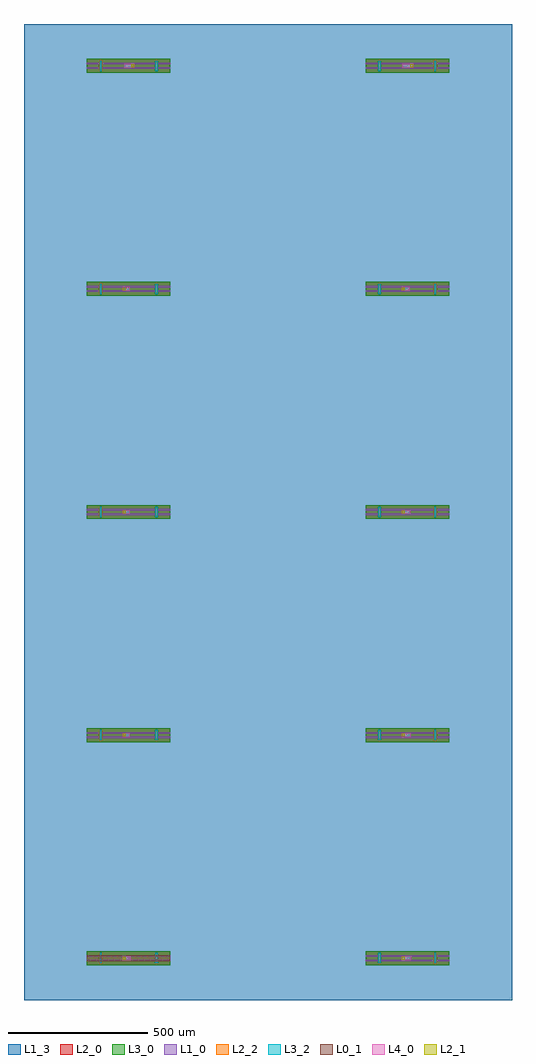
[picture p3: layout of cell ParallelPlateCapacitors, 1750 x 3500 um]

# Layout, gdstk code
from math import pi, radians
import gdstk
lib = gdstk.Library(unit=1e-6, precision=1e-09)
def R(c, l, rs):  # rectangles x0, y0, x1, y1
    for r in rs: c.add(gdstk.rectangle(r[:2], r[2:], *l))
def P(c, l, *ps):  # polygons
    for p in ps: c.add(gdstk.Polygon(p, *l))
L0_1 = (0, 1)
L1_0 = (1, 0)
L1_3 = (1, 3)
L2_0 = (2, 0)
L2_1 = (2, 1)
L2_2 = (2, 2)
L3_0 = (3, 0)
L3_2 = (3, 2)
L4_0 = (4, 0)

grounding_strap = lib.new_cell('Grounding$Strap')
R(grounding_strap, L1_3, [(-20,-6,20,6)])
R(grounding_strap, L2_0, [(-18,-3,-13,3), (13,-3,18,3)])
P(grounding_strap, L2_2, [(-19.5,-5),(-19.5,5),(19.5,5),(19.5,3),(-18,3),(-18,-3),(-13,-3),(-13,3),(13,3),(13,-3),(18,-3),(18,3),(19.5,3),(19.5,-5)])
R(grounding_strap, L3_2, [(-19,-4,19,4)])

c_5ffppc = lib.new_cell('5fFPPC')
P(c_5ffppc, L1_0, [(-150,-11),(-150,-5),(-10,-5),(-10,5),(-150,5),(-150,11),(150,11),(150,5),(0,5),(0,-5),(150,-5),(150,-11)])
R(c_5ffppc, L1_3, [(-150,-25,150,25), (-110,-20,-90,20), (90,-20,110,20)])
R(c_5ffppc, L2_0, [(-103,-18,-97,-13), (97,-18,103,-13), (-103,13,-97,18), (97,13,103,18)])
P(c_5ffppc, L2_0, [(-150,-25),(-150,25),(150,25),(150,19.5),(-105,19.5),(-105,-19.5),(-95,-19.5),(-95,19.5),(95,19.5),(95,6),(-12,6),(-12,-6),(2.5,-6),(2.5,6),(95,6),(95,-19.5),(105,-19.5),(105,19.5),(150,19.5),(150,-25)])
R(c_5ffppc, L2_1, [(-20,-5,-10,5)])
P(c_5ffppc, L3_0, [(-150,-25),(-150,25),(150,25),(150,19),(-104,19),(-104,-19),(-96,-19),(-96,19),(96,19),(96,5),(-20,5),(-20,-5),(1.5,-5),(1.5,5),(96,5),(96,-19),(104,-19),(104,19),(150,19),(150,-25)])
R(c_5ffppc, L4_0, [(-22,-7,4.5,7)])
c_5ffppc.add(gdstk.FlexPath([(-20,0),(1.5,0)], 10, ends="flush", simple_path=True, layer=3, datatype=2))  # L3_2
c_5ffppc.add(gdstk.FlexPath([(-12,0),(2.5,0)], 12, ends="flush", simple_path=True, layer=2, datatype=2))  # L2_2
c_5ffppc.add(gdstk.Reference(grounding_strap, (-100,0), rotation=pi/2))
c_5ffppc.add(gdstk.Reference(grounding_strap, (100,0), rotation=pi/2))

c_10ffppc = lib.new_cell('10fFPPC')
P(c_10ffppc, L1_0, [(-150,-11),(-150,-5),(-10,-5),(-10,5),(-150,5),(-150,11),(150,11),(150,5),(0,5),(0,-5),(150,-5),(150,-11)])
R(c_10ffppc, L1_3, [(-150,-25,150,25), (-110,-20,-90,20), (90,-20,110,20)])
R(c_10ffppc, L2_0, [(-103,-18,-97,-13), (97,-18,103,-13), (-103,13,-97,18), (97,13,103,18)])
P(c_10ffppc, L2_0, [(-150,-25),(-150,25),(150,25),(150,19.5),(-105,19.5),(-105,-19.5),(-95,-19.5),(-95,19.5),(95,19.5),(95,6),(-12,6),(-12,-6),(4,-6),(4,6),(95,6),(95,-19.5),(105,-19.5),(105,19.5),(150,19.5),(150,-25)])
R(c_10ffppc, L2_1, [(-20,-5,-10,5)])
P(c_10ffppc, L3_0, [(-150,-25),(-150,25),(150,25),(150,19),(-104,19),(-104,-19),(-96,-19),(-96,19),(96,19),(96,5),(-20,5),(-20,-5),(3,-5),(3,5),(96,5),(96,-19),(104,-19),(104,19),(150,19),(150,-25)])
R(c_10ffppc, L4_0, [(-22,-7,5,7)])
c_10ffppc.add(gdstk.FlexPath([(-20,0),(3,0)], 10, ends="flush", simple_path=True, layer=3, datatype=2))  # L3_2
c_10ffppc.add(gdstk.FlexPath([(-12,0),(4,0)], 12, ends="flush", simple_path=True, layer=2, datatype=2))  # L2_2
c_10ffppc.add(gdstk.Reference(grounding_strap, (-100,0), rotation=pi/2))
c_10ffppc.add(gdstk.Reference(grounding_strap, (100,0), rotation=pi/2))

c_15ffppc = lib.new_cell('15fFPPC')
R(c_15ffppc, L0_1, [(-150,-11,150,11)])
P(c_15ffppc, L1_0, [(-150,-11),(-150,-5),(-10,-5),(-10,5),(-150,5),(-150,11),(150,11),(150,5),(0,5),(0,-5),(150,-5),(150,-11)])
R(c_15ffppc, L1_3, [(-150,-25,150,25), (-110,-20,-90,20), (90,-20,110,20)])
R(c_15ffppc, L2_0, [(-103,-18,-97,-13), (97,-18,103,-13), (-103,13,-97,18), (97,13,103,18)])
P(c_15ffppc, L2_0, [(-150,-25),(-150,25),(150,25),(150,19.5),(-105,19.5),(-105,-19.5),(-95,-19.5),(-95,19.5),(95,19.5),(95,6),(-12,6),(-12,-6),(6,-6),(6,6),(95,6),(95,-19.5),(105,-19.5),(105,19.5),(150,19.5),(150,-25)])
R(c_15ffppc, L2_1, [(-20,-5,-10,5)])
P(c_15ffppc, L3_0, [(-150,-25),(-150,25),(150,25),(150,19),(-104,19),(-104,-19),(-96,-19),(-96,19),(96,19),(96,5),(-20,5),(-20,-5),(5,-5),(5,5),(96,5),(96,-19),(104,-19),(104,19),(150,19),(150,-25)])
R(c_15ffppc, L4_0, [(-22,-7,8,7)])
c_15ffppc.add(gdstk.FlexPath([(-20,0),(5,0)], 10, ends="flush", simple_path=True, layer=3, datatype=2))  # L3_2
c_15ffppc.add(gdstk.FlexPath([(-12,0),(6,0)], 12, ends="flush", simple_path=True, layer=2, datatype=2))  # L2_2
c_15ffppc.add(gdstk.Reference(grounding_strap, (-100,0), rotation=pi/2))
c_15ffppc.add(gdstk.Reference(grounding_strap, (100,0), rotation=pi/2))

c_20ffppc = lib.new_cell('20fFPPC')
P(c_20ffppc, L1_0, [(-150,-11),(-150,-5),(-10,-5),(-10,5),(-150,5),(-150,11),(150,11),(150,5),(0,5),(0,-5),(150,-5),(150,-11)])
R(c_20ffppc, L1_3, [(-150,-25,150,25), (-110,-20,-90,20), (90,-20,110,20)])
R(c_20ffppc, L2_0, [(-103,-18,-97,-13), (97,-18,103,-13), (-103,13,-97,18), (97,13,103,18)])
P(c_20ffppc, L2_0, [(-150,-25),(-150,25),(150,25),(150,19.5),(-105,19.5),(-105,-19.5),(-95,-19.5),(-95,19.5),(95,19.5),(95,6),(-12,6),(-12,-6),(7,-6),(7,6),(95,6),(95,-19.5),(105,-19.5),(105,19.5),(150,19.5),(150,-25)])
R(c_20ffppc, L2_1, [(-20,-5,-10,5)])
P(c_20ffppc, L3_0, [(-150,-25),(-150,25),(150,25),(150,19),(-104,19),(-104,-19),(-96,-19),(-96,19),(96,19),(96,5),(-20,5),(-20,-5),(6,-5),(6,5),(96,5),(96,-19),(104,-19),(104,19),(150,19),(150,-25)])
R(c_20ffppc, L4_0, [(-22,-7,9,7)])
c_20ffppc.add(gdstk.FlexPath([(-20,0),(6,0)], 10, ends="flush", simple_path=True, layer=3, datatype=2))  # L3_2
c_20ffppc.add(gdstk.FlexPath([(-12,0),(7,0)], 12, ends="flush", simple_path=True, layer=2, datatype=2))  # L2_2
c_20ffppc.add(gdstk.Reference(grounding_strap, (-100,0), rotation=pi/2))
c_20ffppc.add(gdstk.Reference(grounding_strap, (100,0), rotation=pi/2))

c_25ffppc = lib.new_cell('25fFPPC')
P(c_25ffppc, L1_0, [(-150,-11),(-150,-5),(-10,-5),(-10,5),(-150,5),(-150,11),(150,11),(150,5),(0,5),(0,-5),(150,-5),(150,-11)])
R(c_25ffppc, L1_3, [(-150,-25,150,25), (-110,-20,-90,20), (90,-20,110,20)])
R(c_25ffppc, L2_0, [(-103,-18,-97,-13), (97,-18,103,-13), (-103,13,-97,18), (97,13,103,18)])
P(c_25ffppc, L2_0, [(-150,-25),(-150,25),(150,25),(150,19.5),(-105,19.5),(-105,-19.5),(-95,-19.5),(-95,19.5),(95,19.5),(95,6),(-12,6),(-12,-6),(8,-6),(8,6),(95,6),(95,-19.5),(105,-19.5),(105,19.5),(150,19.5),(150,-25)])
R(c_25ffppc, L2_1, [(-20,-5,-10,5)])
P(c_25ffppc, L3_0, [(-150,-25),(-150,25),(150,25),(150,19),(-104,19),(-104,-19),(-96,-19),(-96,19),(96,19),(96,5),(-20,5),(-20,-5),(7,-5),(7,5),(96,5),(96,-19),(104,-19),(104,19),(150,19),(150,-25)])
R(c_25ffppc, L4_0, [(-22,-7,10,7)])
c_25ffppc.add(gdstk.FlexPath([(-20,0),(7,0)], 10, ends="flush", simple_path=True, layer=3, datatype=2))  # L3_2
c_25ffppc.add(gdstk.FlexPath([(-12,0),(8,0)], 12, ends="flush", simple_path=True, layer=2, datatype=2))  # L2_2
c_25ffppc.add(gdstk.Reference(grounding_strap, (-100,0), rotation=pi/2))
c_25ffppc.add(gdstk.Reference(grounding_strap, (100,0), rotation=pi/2))

c_30ffppc = lib.new_cell('30fFPPC')
P(c_30ffppc, L1_0, [(-150,-11),(-150,-5),(-10,-5),(-10,5),(-150,5),(-150,11),(150,11),(150,5),(0,5),(0,-5),(150,-5),(150,-11)])
R(c_30ffppc, L1_3, [(-150,-25,150,25), (-110,-20,-90,20), (90,-20,110,20)])
R(c_30ffppc, L2_0, [(-103,-18,-97,-13), (97,-18,103,-13), (-103,13,-97,18), (97,13,103,18)])
P(c_30ffppc, L2_0, [(-150,-25),(-150,25),(150,25),(150,19.5),(-105,19.5),(-105,-19.5),(-95,-19.5),(-95,19.5),(95,19.5),(95,6),(-12,6),(-12,-6),(10,-6),(10,6),(95,6),(95,-19.5),(105,-19.5),(105,19.5),(150,19.5),(150,-25)])
R(c_30ffppc, L2_1, [(-20,-5,-10,5)])
P(c_30ffppc, L3_0, [(-150,-25),(-150,25),(150,25),(150,19),(-104,19),(-104,-19),(-96,-19),(-96,19),(96,19),(96,5),(-20,5),(-20,-5),(9,-5),(9,5),(96,5),(96,-19),(104,-19),(104,19),(150,19),(150,-25)])
R(c_30ffppc, L4_0, [(-22,-7,12,7)])
c_30ffppc.add(gdstk.FlexPath([(-20,0),(9,0)], 10, ends="flush", simple_path=True, layer=3, datatype=2))  # L3_2
c_30ffppc.add(gdstk.FlexPath([(-12,0),(10,0)], 12, ends="flush", simple_path=True, layer=2, datatype=2))  # L2_2
c_30ffppc.add(gdstk.Reference(grounding_strap, (-100,0), rotation=pi/2))
c_30ffppc.add(gdstk.Reference(grounding_strap, (100,0), rotation=pi/2))

c_35ffppc = lib.new_cell('35fFPPC')
P(c_35ffppc, L1_0, [(-150,-11),(-150,-5),(-10,-5),(-10,5),(-150,5),(-150,11),(150,11),(150,5),(0,5),(0,-5),(150,-5),(150,-11)])
R(c_35ffppc, L1_3, [(-150,-25,150,25)])
R(c_35ffppc, L2_0, [(-103,-18,-97,-13), (97,-18,103,-13), (-103,13,-97,18), (97,13,103,18)])
P(c_35ffppc, L2_0, [(-150,-25),(-150,25),(150,25),(150,19.5),(-105,19.5),(-105,-19.5),(-95,-19.5),(-95,19.5),(95,19.5),(95,6),(-12,6),(-12,-6),(11,-6),(11,6),(95,6),(95,-19.5),(105,-19.5),(105,19.5),(150,19.5),(150,-25)])
R(c_35ffppc, L2_1, [(-20,-5,-10,5)])
P(c_35ffppc, L3_0, [(-150,-25),(-150,25),(150,25),(150,19),(-104,19),(-104,-19),(-96,-19),(-96,19),(96,19),(96,5),(-20,5),(-20,-5),(10,-5),(10,5),(96,5),(96,-19),(104,-19),(104,19),(150,19),(150,-25)])
R(c_35ffppc, L4_0, [(-22,-7,13,7)])
c_35ffppc.add(gdstk.FlexPath([(-20,0),(10,0)], 10, ends="flush", simple_path=True, layer=3, datatype=2))  # L3_2
c_35ffppc.add(gdstk.FlexPath([(-12,0),(11,0)], 12, ends="flush", simple_path=True, layer=2, datatype=2))  # L2_2
c_35ffppc.add(gdstk.Reference(grounding_strap, (-100,0), rotation=pi/2))
c_35ffppc.add(gdstk.Reference(grounding_strap, (100,0), rotation=pi/2))

c_2ffppc = lib.new_cell('2fFPPC')
P(c_2ffppc, L1_0, [(-150,-11),(-150,-5),(-10,-5),(-10,5),(-150,5),(-150,11),(150,11),(150,5),(0,5),(0,-5),(150,-5),(150,-11)])
R(c_2ffppc, L1_3, [(-150,-25,150,25), (-110,-20,-90,20), (90,-20,110,20)])
R(c_2ffppc, L2_0, [(-103,-18,-97,-13), (97,-18,103,-13), (-103,13,-97,18), (97,13,103,18)])
P(c_2ffppc, L2_0, [(-150,-25),(-150,25),(150,25),(150,19.5),(-105,19.5),(-105,-19.5),(-95,-19.5),(-95,19.5),(95,19.5),(95,3.5),(-12,3.5),(-12,-3.5),(2,-3.5),(2,3.5),(95,3.5),(95,-19.5),(105,-19.5),(105,19.5),(150,19.5),(150,-25)])
R(c_2ffppc, L2_1, [(-20,-5,-10,5)])
P(c_2ffppc, L3_0, [(-150,-25),(-150,25),(150,25),(150,19),(-104,19),(-104,-19),(-96,-19),(-96,19),(96,19),(96,2.5),(-20,2.5),(-20,-2.5),(1,-2.5),(1,2.5),(96,2.5),(96,-19),(104,-19),(104,19),(150,19),(150,-25)])
R(c_2ffppc, L4_0, [(-22,-7,5,7)])
c_2ffppc.add(gdstk.FlexPath([(-20,0),(1,0)], 5, ends="flush", simple_path=True, layer=3, datatype=2))  # L3_2
c_2ffppc.add(gdstk.FlexPath([(-12,0),(2,0)], 7, ends="flush", simple_path=True, layer=2, datatype=2))  # L2_2
c_2ffppc.add(gdstk.Reference(grounding_strap, (-100,0), rotation=pi/2))
c_2ffppc.add(gdstk.Reference(grounding_strap, (100,0), rotation=pi/2))

c_45ffppc = lib.new_cell('45fFPPC')
P(c_45ffppc, L1_0, [(-150,-11),(-150,-5),(-10,-5),(-10,5),(-150,5),(-150,11),(150,11),(150,5),(0,5),(0,-5),(150,-5),(150,-11)])
R(c_45ffppc, L1_3, [(-150,-25,150,25)])
R(c_45ffppc, L2_0, [(-103,-18,-97,-13), (97,-18,103,-13), (-103,13,-97,18), (97,13,103,18)])
P(c_45ffppc, L2_0, [(-150,-25),(-150,25),(150,25),(150,19.5),(-105,19.5),(-105,-19.5),(-95,-19.5),(-95,19.5),(95,19.5),(95,6),(-12,6),(-12,-6),(14,-6),(14,6),(95,6),(95,-19.5),(105,-19.5),(105,19.5),(150,19.5),(150,-25)])
R(c_45ffppc, L2_1, [(-20,-5,-10,5)])
P(c_45ffppc, L3_0, [(-150,-25),(-150,25),(150,25),(150,19),(-104,19),(-104,-19),(-96,-19),(-96,19),(96,19),(96,5),(-20,5),(-20,-5),(13,-5),(13,5),(96,5),(96,-19),(104,-19),(104,19),(150,19),(150,-25)])
R(c_45ffppc, L4_0, [(-22,-7,16,7)])
c_45ffppc.add(gdstk.FlexPath([(-20,0),(13,0)], 10, ends="flush", simple_path=True, layer=3, datatype=2))  # L3_2
c_45ffppc.add(gdstk.FlexPath([(-12,0),(14,0)], 12, ends="flush", simple_path=True, layer=2, datatype=2))  # L2_2
c_45ffppc.add(gdstk.Reference(grounding_strap, (-100,0), rotation=pi/2))
c_45ffppc.add(gdstk.Reference(grounding_strap, (100,0), rotation=pi/2))

c_55ffppc = lib.new_cell('55fFPPC')
P(c_55ffppc, L1_0, [(-150,-11),(-150,-5),(-10,-5),(-10,5),(-150,5),(-150,11),(150,11),(150,5),(0,5),(0,-5),(150,-5),(150,-11)])
R(c_55ffppc, L1_3, [(-150,-25,150,25)])
R(c_55ffppc, L2_0, [(-103,-18,-97,-13), (97,-18,103,-13), (-103,13,-97,18), (97,13,103,18)])
P(c_55ffppc, L2_0, [(-150,-25),(-150,25),(150,25),(150,19.5),(-105,19.5),(-105,-19.5),(-95,-19.5),(-95,19.5),(95,19.5),(95,6),(-12,6),(-12,-6),(17,-6),(17,6),(95,6),(95,-19.5),(105,-19.5),(105,19.5),(150,19.5),(150,-25)])
R(c_55ffppc, L2_1, [(-20,-5,-10,5)])
P(c_55ffppc, L3_0, [(-150,-25),(-150,25),(150,25),(150,19),(-104,19),(-104,-19),(-96,-19),(-96,19),(96,19),(96,5),(-20,5),(-20,-5),(16,-5),(16,5),(96,5),(96,-19),(104,-19),(104,19),(150,19),(150,-25)])
R(c_55ffppc, L4_0, [(-22,-7,19,7)])
c_55ffppc.add(gdstk.FlexPath([(-20,0),(16,0)], 10, ends="flush", simple_path=True, layer=3, datatype=2))  # L3_2
c_55ffppc.add(gdstk.FlexPath([(-12,0),(17,0)], 12, ends="flush", simple_path=True, layer=2, datatype=2))  # L2_2
c_55ffppc.add(gdstk.Reference(grounding_strap, (-100,0), rotation=pi/2))
c_55ffppc.add(gdstk.Reference(grounding_strap, (100,0), rotation=pi/2))

parallelplatecapacitors = lib.new_cell('ParallelPlateCapacitors')
R(parallelplatecapacitors, L1_3, [(-875,-1750,875,1750)])
parallelplatecapacitors.add(gdstk.Reference(c_5ffppc, (-500,0)))
parallelplatecapacitors.add(gdstk.Reference(c_10ffppc, (-500,-800)))
parallelplatecapacitors.add(gdstk.Reference(c_15ffppc, (-500,-1600)))
parallelplatecapacitors.add(gdstk.Reference(c_20ffppc, (500,800)))
parallelplatecapacitors.add(gdstk.Reference(c_25ffppc, (500,0)))
parallelplatecapacitors.add(gdstk.Reference(c_30ffppc, (500,-800)))
parallelplatecapacitors.add(gdstk.Reference(c_35ffppc, (500,-1600)))
parallelplatecapacitors.add(gdstk.Reference(c_2ffppc, (-500,800)))
parallelplatecapacitors.add(gdstk.Reference(c_45ffppc, (-500,1600), rotation=pi))
parallelplatecapacitors.add(gdstk.Reference(c_55ffppc, (500,1600), rotation=pi))

lib.write_gds('ParallelPlateCapacitors.gds')
